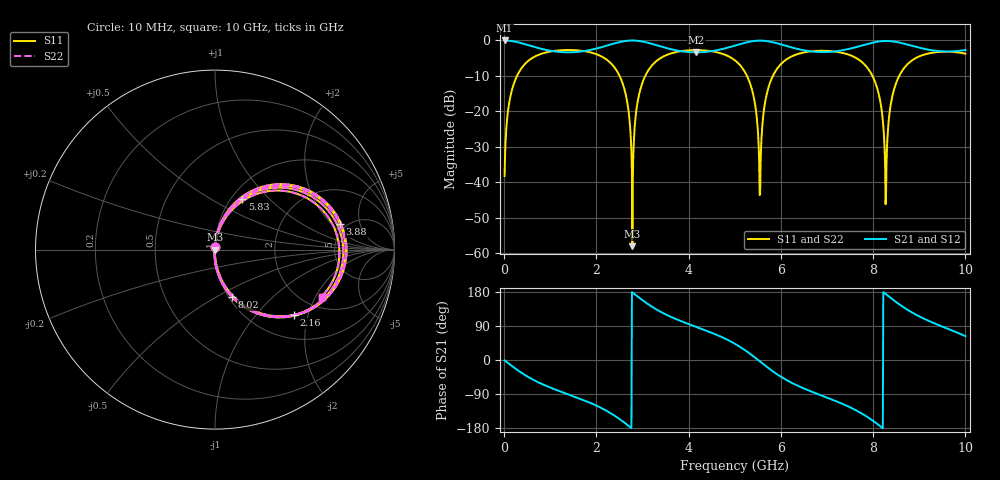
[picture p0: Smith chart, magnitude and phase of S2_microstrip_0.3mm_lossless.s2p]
! kicad_em_sim: S-parameters of 2 ports, openEMS
# Hz S RI R 50
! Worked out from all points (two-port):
!   1000 points, 10 MHz to 10 GHz, reference 50 ohm
!   highest |S21| = -0.01 dB at 10 MHz (marker M1); lowest = -3.4 dB at 4.17 GHz (marker M2)
!   |S21| within 3 dB of the highest: 4.508 GHz to 6.609 GHz (2.101 GHz wide, 37.8 % of centre); 7.222 GHz to 9.42 GHz (2.198 GHz wide, 26.4 % of centre)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
!   lowest |S11| = -58.1 dB at 2.78 GHz (marker M3), VSWR 1.00, Z = 49.9 - j0.0951 ohm
!   |S11| at or under -10 dB: 2.502 GHz to 3.06 GHz (557.8 MHz wide, 20.1 % of centre); 5.264 GHz to 5.827 GHz (562.8 MHz wide, 10.1 % of centre); 7.984 GHz to 8.565 GHz (581.8 MHz wide, 7.03 % of centre)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
!   |S22| runs from -58.1 to -2.7 dB; largest |S21 - S12| = 3.2e-07
!   S11 on the Smith chart (normalised r, x): 10 MHz: 1.00, +0.02; 2.16 GHz: 1.51, -1.63; 3.88 GHz: 4.43, +2.52; 5.83 GHz: 1.12, +0.70; 8.02 GHz: 1.04, -0.60; 10 GHz: 2.47, -2.24
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1e7  0.00126 0.0122  0.9988 -0.0167  0.9988 -0.0167  0.00126 0.0122
1.3e8  0.0344 0.1519  0.9639 -0.2108  0.9639 -0.2108  0.0344 0.1519
3.8e8  0.2294 0.3382  0.755 -0.5113  0.755 -0.5113  0.2294 0.3382
1.68e9  0.694 -0.168  -0.1684 -0.6788  -0.1684 -0.6788  0.694 -0.168
2.16e9  0.4391 -0.3642  -0.5283 -0.6273  -0.5283 -0.6273  0.4391 -0.3642
2.59e9  0.0644 -0.2149  -0.9339 -0.2726  -0.9339 -0.2726  0.0644 -0.2149
2.78e9  -0.000808 -0.000952  -0.9977 0.0286  -0.9977 0.0286  -0.000808 -0.000952
2.96e9  0.0644 0.2013  -0.9241 0.3119  -0.9241 0.3119  0.0644 0.2013
3.34e9  0.4001 0.3557  -0.5492 0.6377  -0.5492 0.6377  0.4001 0.3557
3.88e9  0.6969 0.1408  -0.1263 0.6871  -0.1263 0.6871  0.6969 0.1408
4.17e9  0.7285 -0.0237  0.0344 0.6785  0.0344 0.6785  0.7285 -0.0237
5.01e9  0.3561 -0.3777  0.6277 0.5705  0.6277 0.5705  0.3561 -0.3777
5.37e9  0.0477 -0.1997  0.948 0.2157  0.948 0.2157  0.0477 -0.1997
5.54e9  -0.00299 -0.00582  0.9919 -0.0574  0.9919 -0.0574  -0.00299 -0.00582
5.83e9  0.1512 0.2812  0.813 -0.4741  0.813 -0.4741  0.1512 0.2812
6.67e9  0.6963 0.1013  0.0769 -0.6951  0.0769 -0.6951  0.6963 0.1013
8.02e9  0.0952 -0.2644  -0.8969 -0.2827  -0.8969 -0.2827  0.0952 -0.2644
8.26e9  -0.00213 -0.0163  -0.9792 0.0813  -0.9792 0.0813  -0.00213 -0.0163
8.34e9  0.0115 0.0761  -0.9577 0.2104  -0.9577 0.2104  0.0115 0.0761
8.48e9  0.0883 0.2143  -0.8646 0.4115  -0.8646 0.4115  0.0883 0.2143
8.77e9  0.347 0.3292  -0.5623 0.6561  -0.5623 0.6561  0.347 0.3292
1e10  0.5937 -0.2625  0.3323 0.653  0.3323 0.653  0.5937 -0.2625
